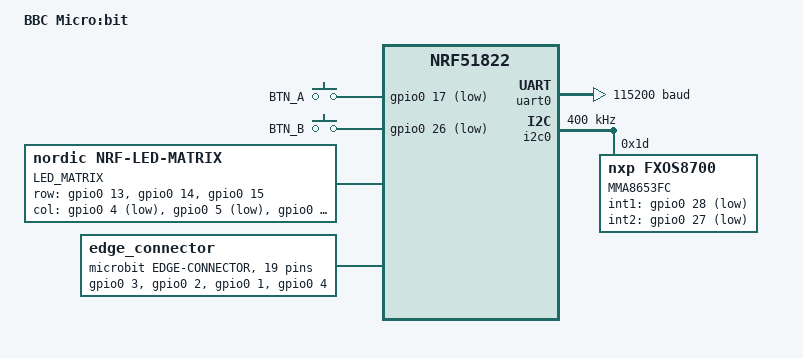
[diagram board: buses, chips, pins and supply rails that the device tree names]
/*
 * Copyright (c) 2017 Linaro Limited
 *
 * SPDX-License-Identifier: Apache-2.0
 */

/dts-v1/;
#include <nordic/nrf51822_qfaa.dtsi>
#include "bbc_microbit-pinctrl.dtsi"

/ {
	model = "BBC Micro:bit";
	compatible = "bbc,microbit";

	/* These aliases are provided for compatibility with samples */
	aliases {
		sw0 = &buttonA;
		sw1 = &buttonB;
	};

	chosen {
		zephyr,console = &uart0;
		zephyr,shell-uart = &uart0;
		zephyr,bt-mon-uart = &uart0;
		zephyr,bt-c2h-uart = &uart0;
		zephyr,sram = &sram0;
		zephyr,flash = &flash0;
		zephyr,code-partition = &slot0_partition;
		zephyr,display = &led_matrix;
	};

	gpio_keys {
		compatible = "gpio-keys";
		buttonA: button_0 {
			label = "BTN_A";
			gpios = <&gpio0 17 GPIO_ACTIVE_LOW>;
		};

		buttonB: button_1 {
			label = "BTN_B";
			gpios = <&gpio0 26 GPIO_ACTIVE_LOW>;
		};
	};

	led_matrix: led_matrix {
		compatible = "nordic,nrf-led-matrix";
		status = "okay";
		label = "LED_MATRIX";
		width = <5>;
		height = <5>;
		pixel-mapping = [00 13 01 14 02
				 23 24 25 26 27
				 11 08 12 28 10
				 07 06 05 04 03
				 22 16 20 15 21];
		row-gpios = <&gpio0 13 GPIO_ACTIVE_HIGH>,
			    <&gpio0 14 GPIO_ACTIVE_HIGH>,
			    <&gpio0 15 GPIO_ACTIVE_HIGH>;
		col-gpios = <&gpio0  4 GPIO_ACTIVE_LOW>,
			    <&gpio0  5 GPIO_ACTIVE_LOW>,
			    <&gpio0  6 GPIO_ACTIVE_LOW>,
			    <&gpio0  7 GPIO_ACTIVE_LOW>,
			    <&gpio0  8 GPIO_ACTIVE_LOW>,
			    <&gpio0  9 GPIO_ACTIVE_LOW>,
			    <&gpio0 10 GPIO_ACTIVE_LOW>,
			    <&gpio0 11 GPIO_ACTIVE_LOW>,
			    <&gpio0 12 GPIO_ACTIVE_LOW>;
		refresh-frequency = <50>;
		timer = <&timer2>;
		pixel-group-size = <3>;
	};

	edge_connector: connector {
		compatible = "microbit,edge-connector";
		#gpio-cells = <2>;
		gpio-map-mask = <0xffffffff 0xffffffc0>;
		gpio-map-pass-thru = <0 0x3f>;
		gpio-map = <0 0 &gpio0 3 0>,	/* P0, Analog in */
			   <1 0 &gpio0 2 0>,	/* P1, Analog in */
			   <2 0 &gpio0 1 0>,	/* P2, Analog in */
			   <3 0 &gpio0 4 0>,	/* P3, Analog in, LED Col 1 */
			   <4 0 &gpio0 5 0>,	/* P4, Analog in, LED Col 2 */
			   <5 0 &gpio0 17 0>,	/* P5, Button A */
			   <6 0 &gpio0 12 0>,	/* P6, LED Col 9 */
			   <7 0 &gpio0 11 0>,	/* P7, LED Col 8 */
			   <8 0 &gpio0 18 0>,	/* P8 */
			   <9 0 &gpio0 10 0>,	/* P9, LED Col 7 */
			   <10 0 &gpio0 6 0>,	/* P10, Analog in, LED Col 3 */
			   <11 0 &gpio0 26 0>,	/* P11, Button B */
			   <12 0 &gpio0 20 0>,	/* P12 */
			   <13 0 &gpio0 23 0>,	/* P13, SPI1 SCK */
			   <14 0 &gpio0 22 0>,	/* P14, SPI1 MISO */
			   <15 0 &gpio0 21 0>,	/* P15, SPI1 MOSI */
			   <16 0 &gpio0 16 0>,	/* P16 */
			   /* 17 and 18 are just 3.3V pins */
			   <19 0 &gpio0 0 0>,	/* P19, I2C1 SCL */
			   <20 0 &gpio0 30 0>;	/* P20, I2C1 SDA */
	};
};

&gpiote {
	status = "okay";
};

&gpio0 {
	status = "okay";
	/*
	 * Use the sensing mechanism for all pins by default, as GPIOTE channels
	 * are needed for the LED matrix and the SW PWM.
	 */
	sense-edge-mask = <0xffffffff>;
};

&uart0 {
	status = "okay";
	current-speed = <115200>;
	pinctrl-0 = <&uart0_default>;
	pinctrl-1 = <&uart0_sleep>;
	pinctrl-names = "default", "sleep";
};

&i2c0 {
	status = "okay";
	clock-frequency = <I2C_BITRATE_FAST>;

	/* See https://tech.microbit.org/hardware/i2c/ for board variants */

	/* v1.3 MMA8653FC (= FXOS8700) + MAG3110 */
	pinctrl-0 = <&i2c0_default>;
	pinctrl-1 = <&i2c0_sleep>;
	pinctrl-names = "default", "sleep";
	mma8653fc@1d {
		compatible = "nxp,fxos8700", "nxp,mma8653fc";
		status = "okay";
		reg = <0x1d>;
		label = "MMA8653FC";
		int1-gpios = <&gpio0 28 GPIO_ACTIVE_LOW>;
		int2-gpios = <&gpio0 27 GPIO_ACTIVE_LOW>;
	};

	/* v1.5 variant 1 LSM303AGR */
	lsm303agr-magn@1e {
		compatible = "st,lis2mdl", "st,lsm303agr-magn";
		status = "disabled";
		reg = <0x1e>;
		label = "LSM303AGR-MAGN";
		irq-gpios = <&gpio0 27 GPIO_ACTIVE_HIGH>;	/* A3 */
	};

	lsm303agr-accel@19 {
		compatible = "st,lis2dh", "st,lsm303agr-accel";
		status = "disabled";
		reg = <0x19>;
		label = "LSM303AGR-ACCEL";
		irq-gpios = <&gpio0 28 GPIO_ACTIVE_HIGH>;
	};
};

&flash0 {

	partitions {
		compatible = "fixed-partitions";
		#address-cells = <1>;
		#size-cells = <1>;

		boot_partition: partition@0 {
			label = "mcuboot";
			reg = <0x00000000 0x8000>;
		};
		slot0_partition: partition@8000 {
			label = "image-0";
			reg = <0x00008000 0x1a000>;
		};
		slot1_partition: partition@22000 {
			label = "image-1";
			reg = <0x00022000 0x1a000>;
		};
		scratch_partition: partition@3c000 {
			label = "image-scratch";
			reg = <0x0003c000 0x2000>;
		};
		storage_partition: partition@3e000 {
			label = "storage";
			reg = <0x0003e000 0x00002000>;
		};
	};
};
